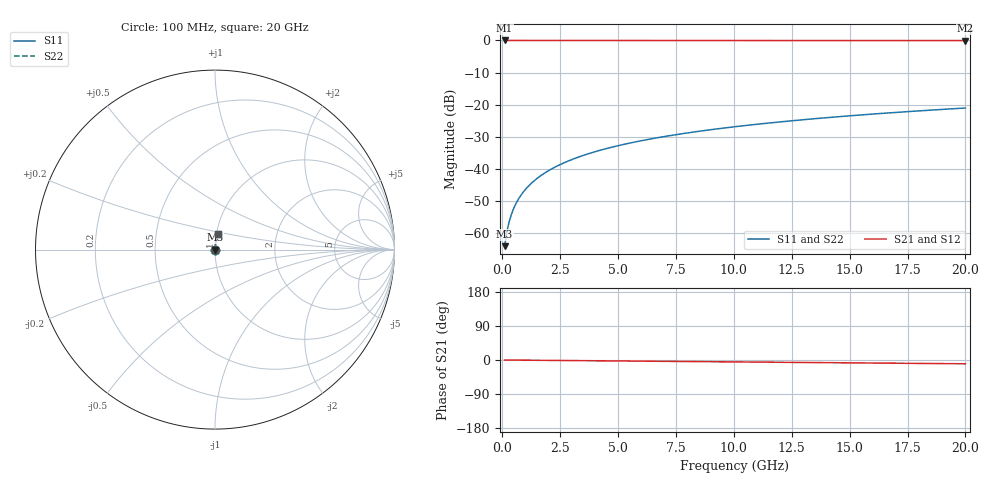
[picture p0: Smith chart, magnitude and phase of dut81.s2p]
! Touchstone file exported from HFSS 2026.1.0
!  File:  C:/ffzhzh/LocalFiles/Ansys_Project_Files/temp_train_TSV_81_1782959476_45748.aedt
!  Generated:  10:33:22 AM Jul  2, 2026
!  Design:  TSV
!  Project:  temp_train_TSV_81_1782959476_45748
! Variables:
!  h_bsmrdl = 2um
!  h_ox = 20um
!  h_rdl = 5um
!  h_sub = 83.06um
!  h_tmrdl = 5um
!  h_tsv = 83.06um
!  h_via = 3um
!  l_bsmrdl = 300um
!  l_sub = 410.32um
!  l_tmrdl = 200um
!  m_sub = 200um
!  pitch = 48.68um
!  r_tsv = 5.16um
!  s_tmrdl = 10um
!  w_bsmrdl = 18um
!  w_sub = 500um
!  w_tmrdl = 12um
!  x_tsv_center1 = 206um
!  x_tsv_center2 = 524um
!  x_tsv_center3 = 736um
!  x_tsv_center4 = 1054um
!  x_tsv_center5 = 1266um
!  x_tsv_center6 = 1584um
# GHz S MA R 50.000000
! Terminal data exported
! Port[1] = TSV1_1_T1
! Port[2] = TSV1_1_T2
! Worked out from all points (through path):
!   200 points, 100 MHz to 20 GHz, reference 50 ohm
!   highest |S21| = 0.00 dB at 100 MHz (marker M1); lowest = -0.1 dB at 20 GHz (marker M2)
!   group delay of S21, straight-line fit = 1.38 ps
!   lowest |S11| = -64.1 dB at 100 MHz (marker M3), VSWR 1.00, Z = 50 + j0.0489 ohm
!   |S11| at or under -10 dB: start of sweep to end of sweep
!   |S22| runs from -64.1 to -21.1 dB; largest |S21 - S12| = 4.4e-15
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0.1  0.000624 51.5  0.9996 -0.1  0.9996 -0.1  0.000624 51.5
! Gamma 0 0 0 0
! Port Impedance 50 0 50 0
0.2  0.001053 67.8  0.9996 -0.1  0.9996 -0.1  0.001053 67.8
0.3  0.001516 74.2  0.9996 -0.2  0.9996 -0.2  0.001516 74.2
0.4  0.001985 77.4  0.9996 -0.2  0.9996 -0.2  0.001985 77.4
0.5  0.002455 79.3  0.9996 -0.3  0.9996 -0.3  0.002455 79.3
0.7  0.003389 81.5  0.9995 -0.4  0.9995 -0.4  0.003389 81.5
0.8  0.003854 82.2  0.9995 -0.4  0.9995 -0.4  0.003854 82.2
1  0.00478 83.1  0.9995 -0.5  0.9995 -0.5  0.00478 83.1
1.2  0.005702 83.8  0.9994 -0.6  0.9994 -0.6  0.005702 83.8
1.4  0.006623 84.2  0.9994 -0.7  0.9994 -0.7  0.006623 84.2
1.7  0.008001 84.6  0.9993 -0.9  0.9993 -0.9  0.008001 84.6
2  0.009377 84.9  0.9993 -1.0  0.9993 -1.0  0.009376 84.9
2.7  0.01257 85.1  0.9992 -1.4  0.9992 -1.4  0.01257 85.1
3.5  0.0162 85.1  0.999 -1.8  0.999 -1.8  0.0162 85.1
4.2  0.01936 85.0  0.9988 -2.1  0.9988 -2.1  0.01936 85.0
5  0.02294 84.8  0.9987 -2.5  0.9987 -2.5  0.02294 84.8
6.8  0.03096 84.2  0.9983 -3.4  0.9983 -3.4  0.03096 84.2
8.3  0.0376 83.7  0.9979 -4.2  0.9979 -4.2  0.0376 83.7
10.1  0.04553 83.0  0.9974 -5.1  0.9974 -5.1  0.04553 83.0
13.4  0.06001 81.6  0.9965 -6.7  0.9965 -6.7  0.06001 81.6
16.7  0.07438 80.1  0.9953 -8.4  0.9953 -8.4  0.07438 80.1
20  0.0886 78.6  0.9939 -10.0  0.9939 -10.0  0.0886 78.6
